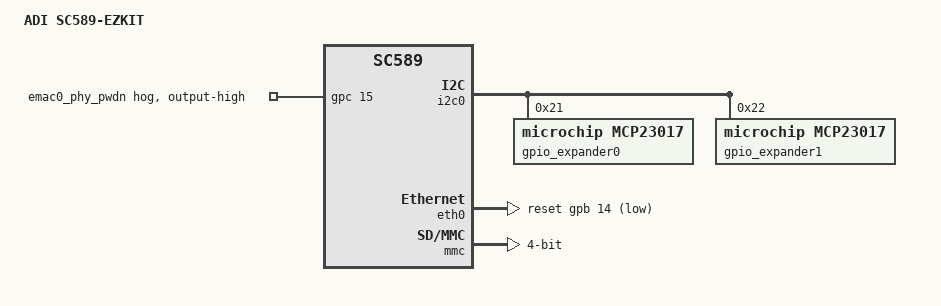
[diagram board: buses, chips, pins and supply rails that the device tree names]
// SPDX-License-Identifier: GPL-2.0-or-later
/*
 * (C) Copyright 2024 - Analog Devices, Inc.
 */

/dts-v1/;

#include "sc58x.dtsi"

/ {
	#address-cells = <1>;
	#size-cells = <1>;
	model = "ADI SC589-EZKIT";
	compatible = "adi,sc589-ezkit", "adi,sc58x";
};

&i2c0 {
	#address-cells = <1>;
	#size-cells = <0>;
	status = "okay";

	gpio_expander0: mcp23017@21 {
		compatible = "microchip,mcp23017";
		reg = <0x21>;
		gpio-controller;
		#gpio-cells = <2>;

		eeprom {
			gpio-hog;
			gpios = <0 GPIO_ACTIVE_LOW>;
			output-low;
			line-name = "eeprom-en";
		};

		uart0-flow-en {
			gpio-hog;
			gpios = <1 GPIO_ACTIVE_LOW>;
			output-low;
			line-name = "uart0-flow-en";
		};

		uart0-en {
			gpio-hog;
			gpios = <2 GPIO_ACTIVE_LOW>;
			output-high;
			line-name = "uart0-en";
		};

		eth0 {
			gpio-hog;
			gpios = <3 GPIO_ACTIVE_LOW>;
			output-high;
			line-name = "eth0-en";
		};

		eth1 {
			gpio-hog;
			gpios = <4 GPIO_ACTIVE_LOW>;
			output-high;
			line-name = "eth1-en";
		};

		mlb {
			gpio-hog;
			gpios = <5 GPIO_ACTIVE_HIGH>;
			output-high;
			line-name = "~mlb-en";
		};

		can0 {
			gpio-hog;
			gpios = <6 GPIO_ACTIVE_LOW>;
			output-low;
			line-name = "can0-en";
		};

		can1 {
			gpio-hog;
			gpios = <7 GPIO_ACTIVE_LOW>;
			output-low;
			line-name = "can1-en";
		};

		adau1962 {
			gpio-hog;
			gpios = <8 GPIO_ACTIVE_LOW>;
			output-high;
			line-name = "adau1962-en";
		};

		adau1979 {
			gpio-hog;
			gpios = <9 GPIO_ACTIVE_LOW>;
			output-high;
			line-name = "adau1979-en";
		};

		sd_wp {
			gpio-hog;
			gpios = <11 GPIO_ACTIVE_LOW>;
			output-low;
			line-name = "sd-wp-en";
		};

		spi2d2-d3 {
			gpio-hog;
			gpios = <12 GPIO_ACTIVE_LOW>;
			output-high;
			line-name = "spi2d2-d3-en";
		};

		spi2flash-cs {
			gpio-hog;
			gpios = <13 GPIO_ACTIVE_LOW>;
			output-high;
			line-name = "spi2flash-cs";
		};

		spdif-opt {
			gpio-hog;
			gpios = <14 GPIO_ACTIVE_LOW>;
			output-low;
			line-name = "spdif-optical-en";
		};

		spdif-dig {
			gpio-hog;
			gpios = <15 GPIO_ACTIVE_LOW>;
			output-low;
			line-name = "spdif-digital-en";
		};
	};

	gpio_expander1: mcp23017@22 {
		compatible = "microchip,mcp23017";
		reg = <0x22>;
		gpio-controller;
		#gpio-cells = <2>;

		pushbutton1 {
			gpio-hog;
			gpios = <0 GPIO_ACTIVE_LOW>;
			output-high;
			line-name = "pushbutton1-en";
		};

		pushbutton2 {
			gpio-hog;
			gpios = <1 GPIO_ACTIVE_LOW>;
			output-high;
			line-name = "pushbutton2-en";
		};

		led10 {
			gpio-hog;
			gpios = <2 GPIO_ACTIVE_LOW>;
			output-high;
			line-name = "led10-en";
		};

		led11 {
			gpio-hog;
			gpios = <3 GPIO_ACTIVE_LOW>;
			output-high;
			line-name = "led11-en";
		};

		led12 {
			gpio-hog;
			gpios = <4 GPIO_ACTIVE_LOW>;
			output-high;
			line-name = "led12-en";
		};
	};
};

&eth0 {
	snps,reset-gpio = <&gpb 14 GPIO_ACTIVE_LOW>;
};

&gpc {
	emac0_phy_pwdn {
		gpio-hog;
		output-high;
		gpios = <15 GPIO_ACTIVE_HIGH>;
	};
};

&mmc {
	pinctrl-names = "default";
	pinctrl-0 = <&mmc_default>;
	bus-width = <4>;
	max-frequency = <52000000>;
	status = "okay";
};
